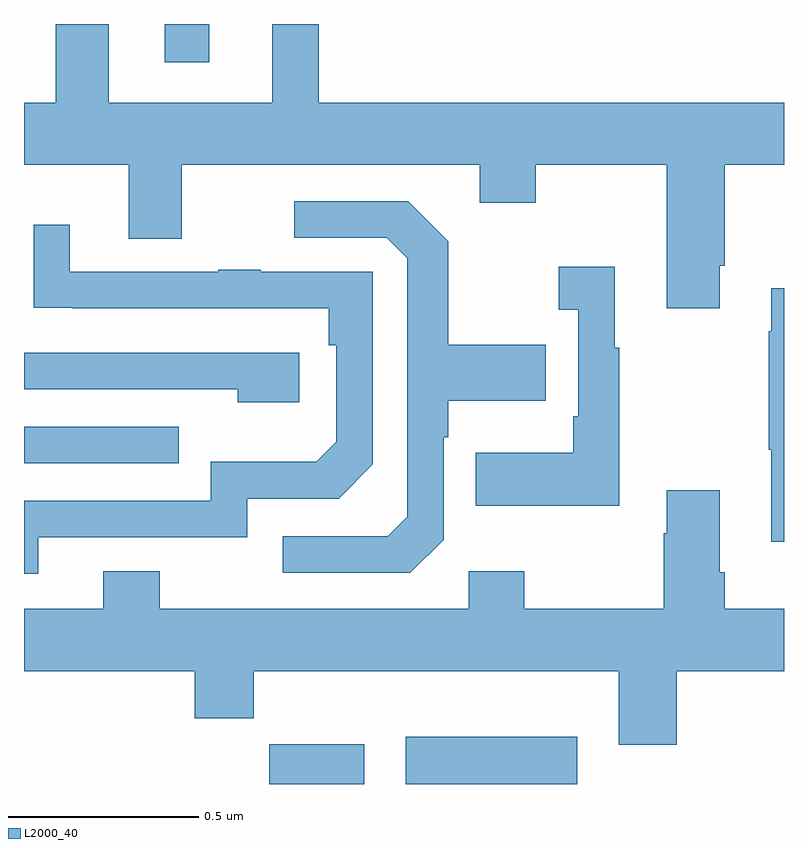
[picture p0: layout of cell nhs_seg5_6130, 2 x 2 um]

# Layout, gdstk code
import gdstk
lib = gdstk.Library(unit=1e-6, precision=1e-09)
def R(c, l, rs):  # rectangles x0, y0, x1, y1
    for r in rs: c.add(gdstk.rectangle(r[:2], r[2:], *l))
def P(c, l, *ps):  # polygons
    for p in ps: c.add(gdstk.Polygon(p, *l))
L2000_40 = (2000, 40)

nhs_seg5_6130 = lib.new_cell('nhs_seg5_6130')
R(nhs_seg5_6130, L2000_40, [(192.646,853.799,192.895,853.903), (193.005,853.799,193.456,853.924), (192,854.643,192.407,854.739), (192.371,855.699,192.487,855.799)])
P(nhs_seg5_6130, L2000_40, [(193.831,855.163),(193.844,855.163),(193.844,855.428),(194,855.428),(194,855.592),(192.775,855.592),(192.775,855.799),(192.653,855.799),(192.653,855.592),(192.223,855.592),(192.223,855.799),(192.083,855.799),(192.083,855.592),(192,855.592),(192,855.428),(192.275,855.428),(192.275,855.234),(192.415,855.234),(192.415,855.428),(193.199,855.428),(193.199,855.329),(193.347,855.329),(193.347,855.428),(193.691,855.428),(193.691,855.051),(193.831,855.051)],
  [(193.104,854.442),(193.104,854.711),(193.117,854.711),(193.117,854.807),(193.373,854.807),(193.373,854.955),(193.117,854.955),(193.117,855.227),(193.011,855.333),(192.711,855.333),(192.711,855.237),(192.954,855.237),(193.008,855.183),(193.008,854.502),(192.957,854.451),(192.681,854.451),(192.681,854.355),(193.017,854.355)],
  [(192.037,854.448),(192.588,854.448),(192.588,854.55),(192.828,854.55),(192.918,854.64),(192.918,855.147),(192.623,855.147),(192.623,855.152),(192.511,855.152),(192.511,855.147),(192.121,855.147),(192.121,855.271),(192.025,855.271),(192.025,855.052),(192.127,855.052),(192.127,855.051),(192.802,855.051),(192.802,854.954),(192.822,854.954),(192.822,854.7),(192.769,854.647),(192.492,854.647),(192.492,854.544),(192,854.544),(192,854.352),(192.037,854.352)],
  [(193.567,854.947),(193.555,854.947),(193.555,855.16),(193.407,855.16),(193.407,855.047),(193.458,855.047),(193.458,854.767),(193.446,854.767),(193.446,854.671),(193.189,854.671),(193.189,854.531),(193.567,854.531)],
  [(194,855.103),(193.967,855.103),(193.967,854.99),(193.96,854.99),(193.96,854.679),(193.967,854.679),(193.967,854.436),(194,854.436)],
  [(192.724,854.934),(192,854.934),(192,854.838),(192.563,854.838),(192.563,854.804),(192.724,854.804)],
  [(193.718,854.096),(194,854.096),(194,854.26),(193.844,854.26),(193.844,854.356),(193.831,854.356),(193.831,854.572),(193.691,854.572),(193.691,854.459),(193.684,854.459),(193.684,854.26),(193.317,854.26),(193.317,854.359),(193.17,854.359),(193.17,854.26),(192.357,854.26),(192.357,854.359),(192.209,854.359),(192.209,854.26),(192,854.26),(192,854.096),(192.449,854.096),(192.449,853.972),(192.605,853.972),(192.605,854.096),(193.565,854.096),(193.565,853.902),(193.718,853.902)])

lib.write_gds('nhs_seg5_6130.gds')
